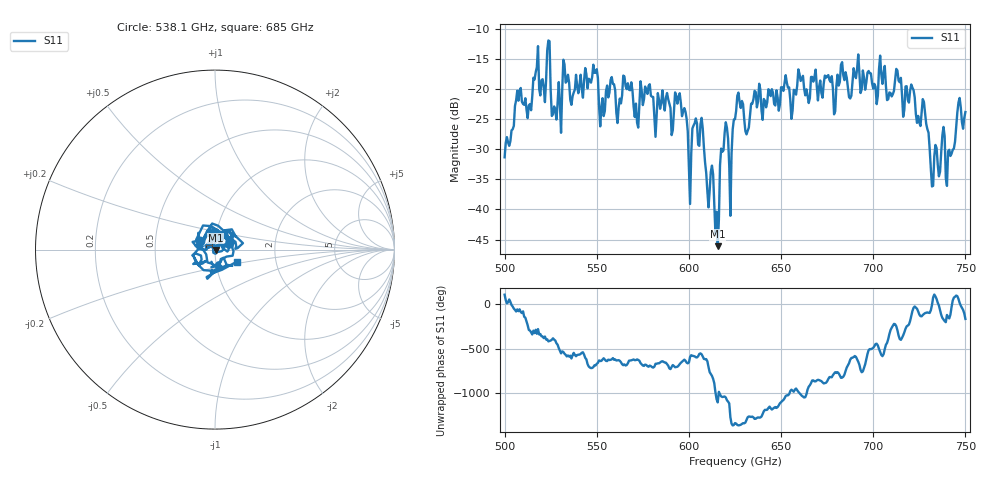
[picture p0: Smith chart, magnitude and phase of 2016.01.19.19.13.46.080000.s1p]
!Created with skrf (http://scikit-rf.org).
# GHz S RI R 50.0
!freq ReS11 ImS11
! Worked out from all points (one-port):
!   401 points, 500 GHz to 750 GHz, reference 50 ohm
!   lowest |S11| = -46.1 dB at 615.6 GHz (marker M1), VSWR 1.01, Z = 50.5 - j0.183 ohm
!   |S11| at or under -10 dB: start of sweep to end of sweep
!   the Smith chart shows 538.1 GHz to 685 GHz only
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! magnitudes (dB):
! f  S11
! 500 GHz  -31.3
! 513.8 GHz  -22.5
! 516.9 GHz  -17.2
! 520.6 GHz  -18.3
! 523.8 GHz  -11.9
! 526.9 GHz  -22.9
! 531.2 GHz  -20.2
! 549.4 GHz  -17.3
! 552.5 GHz  -23.0
! 558.8 GHz  -19.1
! 562.5 GHz  -21.6
! 593.8 GHz  -22.4
! 600.6 GHz  -39.1
! 603.1 GHz  -25.7
! 607.5 GHz  -26.5
! 610 GHz  -37.0
! 615.6 GHz  -46.1
! 618.8 GHz  -30.2
! 622.5 GHz  -41.1
! 625 GHz  -25.0
! 656.2 GHz  -23.5
! 660.6 GHz  -18.6
! 687.5 GHz  -21.5
! 690.6 GHz  -18.2
! 718.8 GHz  -21.8
! 728.1 GHz  -23.9
! 731.9 GHz  -36.2
! 750 GHz  -23.8
